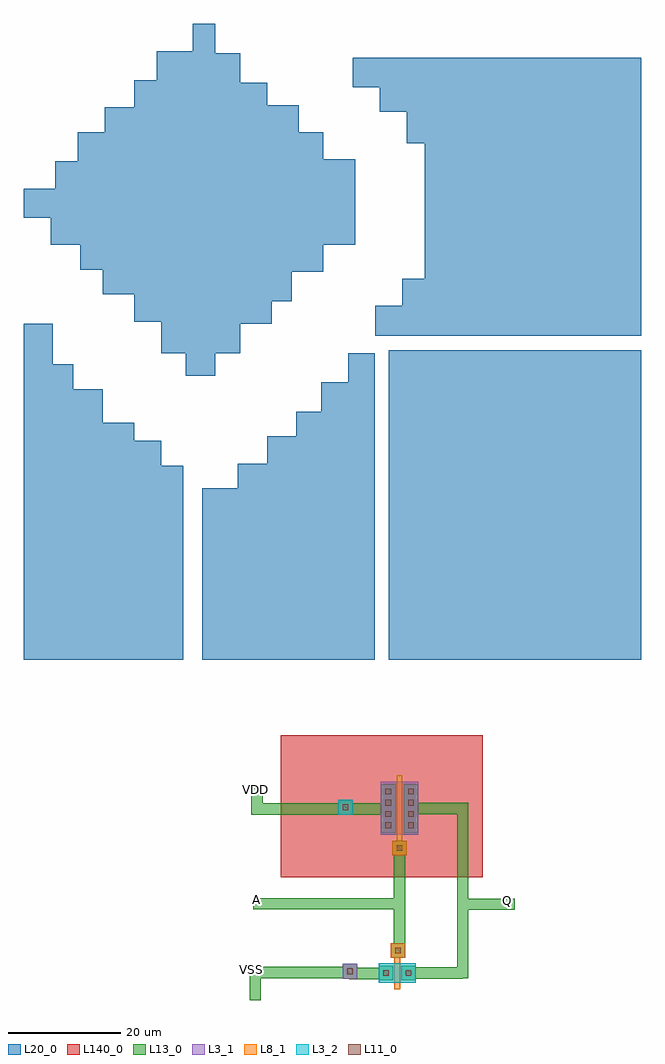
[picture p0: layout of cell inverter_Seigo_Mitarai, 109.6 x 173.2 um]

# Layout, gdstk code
import gdstk
lib = gdstk.Library(unit=1e-6, precision=1e-07)
def R(c, l, rs):  # rectangles x0, y0, x1, y1
    for r in rs: c.add(gdstk.rectangle(r[:2], r[2:], *l))
def A(c, l, x, y, w, h, nx, ny, dx, dy):  # array of equal rectangles
    R(c, l, [(x+i*dx, y+j*dy, x+i*dx+w, y+j*dy+h) for i in range(nx) for j in range(ny)])
def P(c, l, *ps):  # polygons
    for p in ps: c.add(gdstk.Polygon(p, *l))
L3_1 = (3, 1)
L3_2 = (3, 2)
L8_1 = (8, 1)
L11_0 = (11, 0)
L13_0 = (13, 0)
L20_0 = (20, 0)
L140_0 = (140, 0)

fet_n = lib.new_cell('fet_n')
R(fet_n, L3_2, [(-3.3,-1.7,3.3,1.7)])
R(fet_n, L11_0, [(-2.5,-0.5,-1.5,0.5), (1.5,-0.5,2.5,0.5)])
R(fet_n, L13_0, [(-3.3,-1.3,-0.7,1.3), (0.7,-1.3,3.3,1.3)])
fet_n.add(gdstk.FlexPath([(0,-2.9),(0,2.9)], 1, ends="flush", simple_path=True, layer=8, datatype=1))  # L8_1

cont_g = lib.new_cell('cont_g')
R(cont_g, L8_1, [(-1.3,-1.3,1.3,1.3)])
R(cont_g, L11_0, [(-0.5,-0.5,0.5,0.5)])
R(cont_g, L13_0, [(-1.3,-1.3,1.3,1.3)])

cont_n = lib.new_cell('cont_n')
R(cont_n, L3_2, [(-1.3,-1.3,1.3,1.3)])
R(cont_n, L11_0, [(-0.5,-0.5,0.5,0.5)])
R(cont_n, L13_0, [(-1.3,-1.3,1.3,1.3)])

cont_p = lib.new_cell('cont_p')
R(cont_p, L3_1, [(-1.3,-1.3,1.3,1.3)])
R(cont_p, L11_0, [(-0.5,-0.5,0.5,0.5)])
R(cont_p, L13_0, [(-1.3,-1.3,1.3,1.3)])

fet_p = lib.new_cell('fet_p')
R(fet_p, L3_1, [(-3.3,-4.7,3.3,4.7)])
A(fet_p, L11_0, -2.5, -3.5, 1, 1, 1, 4, 0, 2)
A(fet_p, L11_0, 1.5, -3.5, 1, 1, 1, 4, 0, 2)
R(fet_p, L13_0, [(-3.3,-4.3,-0.7,4.3), (0.7,-4.3,3.3,4.3)])
fet_p.add(gdstk.FlexPath([(0,-5.9),(0,5.9)], 1, ends="flush", simple_path=True, layer=8, datatype=1))  # L8_1

inverter_seigo_mitarai = lib.new_cell('inverter_Seigo_Mitarai')
R(inverter_seigo_mitarai, L20_0, [(44,30.4,88.8,85.3)])
P(inverter_seigo_mitarai, L20_0, [(-20.8,30.4),(-20.8,90),(-15.6,90),(-15.6,82.8),(-12,82.8),(-12,78.4),(-6.8,78.4),(-6.8,72.4),(-1.2,72.4),(-1.2,69.2),(3.6,69.2),(3.6,64.8),(7.5,64.8),(7.5,30.4)],
  [(10.9,30.4),(10.9,60.8),(17.2,60.8),(17.2,65.2),(22.4,65.2),(22.4,70),(27.6,70),(27.6,74.4),(32,74.4),(32,79.6),(36.8,79.6),(36.8,84.8),(41.5,84.8),(41.5,30.4)],
  [(41.6,87.9),(41.6,93.2),(46.4,93.2),(46.4,98),(50.4,98),(50.4,122),(47.2,122),(47.2,127.6),(42.4,127.6),(42.4,132),(37.6,132),(37.6,137.2),(88.8,137.2),(88.8,87.9)],
  [(8,80.8),(8,84.8),(3.6,84.8),(3.6,90.4),(-1.2,90.4),(-1.2,95.2),(-6.8,95.2),(-6.8,99.6),(-10.8,99.6),(-10.8,104),(-16,104),(-16,108.8),(-20.8,108.8),(-20.8,114),(-15.2,114),(-15.2,118.8),(-11.2,118.8),(-11.2,124),(-6.4,124),(-6.4,128.4),(-1.2,128.4),(-1.2,133.2),(2.8,133.2),(2.8,138.4),(9.2,138.4),(9.2,143.2),(13.2,143.2),(13.2,138),(17.6,138),(17.6,132.8),(22.4,132.8),(22.4,128.8),(28,128.8),(28,124),(32.4,124),(32.4,119.2),(38,119.2),(38,104),(32.4,104),(32.4,99.2),(26.8,99.2),(26.8,94),(23.2,94),(23.2,90),(17.6,90),(17.6,84.8),(13.2,84.8),(13.2,80.8)])
R(inverter_seigo_mitarai, L140_0, [(24.8,-8.2,60.7,17)])
inverter_seigo_mitarai.add(gdstk.FlexPath([(45.9,-3.4),(45.9,-20.9)], 2, ends="flush", simple_path=True, layer=13, datatype=0))  # L13_0
inverter_seigo_mitarai.add(gdstk.FlexPath([(43.6,-25.3),(37,-25.3)], 2, ends="flush", simple_path=True, layer=13, datatype=0))  # L13_0
inverter_seigo_mitarai.add(gdstk.FlexPath([(43.9,3.9),(36,3.9)], 2, ends="flush", simple_path=True, layer=13, datatype=0))  # L13_0
inverter_seigo_mitarai.add(gdstk.FlexPath([(47.8,4),(57.1,4),(57.1,-26.1)], 2, ends="flush", simple_path=True, layer=13, datatype=0))  # L13_0
inverter_seigo_mitarai.add(gdstk.FlexPath([(45.7,-12.9),(19.9,-12.9)], 2, ends="flush", simple_path=True, layer=13, datatype=0))  # L13_0
inverter_seigo_mitarai.add(gdstk.FlexPath([(57.2,-13),(66.3,-13)], 2, ends="flush", simple_path=True, layer=13, datatype=0))  # L13_0
inverter_seigo_mitarai.add(gdstk.FlexPath([(36.1,3.9),(20.6,3.9),(20.6,7.6)], 2, ends="flush", simple_path=True, layer=13, datatype=0))  # L13_0
inverter_seigo_mitarai.add(gdstk.FlexPath([(37,-25.1),(20.3,-25.1),(20.3,-30)], 2, ends="flush", simple_path=True, layer=13, datatype=0))  # L13_0
inverter_seigo_mitarai.add(gdstk.FlexPath([(47.3,-25.2),(57.1,-25.2)], 2, ends="flush", simple_path=True, layer=13, datatype=0))  # L13_0
inverter_seigo_mitarai.add(gdstk.Reference(fet_n, (45.5,-25.2)))
inverter_seigo_mitarai.add(gdstk.Reference(cont_g, (45.9,-3)))
inverter_seigo_mitarai.add(gdstk.Reference(cont_n, (36.3,4.2)))
inverter_seigo_mitarai.add(gdstk.Reference(cont_g, (45.6,-21.2)))
inverter_seigo_mitarai.add(gdstk.Reference(cont_p, (37.1,-24.9)))
inverter_seigo_mitarai.add(gdstk.Reference(fet_p, (45.9,4)))
inverter_seigo_mitarai.add(gdstk.Label('Q', (65,-12.4), layer=48, texttype=0))
inverter_seigo_mitarai.add(gdstk.Label('VSS', (19.6,-24.5), layer=48, texttype=0))
inverter_seigo_mitarai.add(gdstk.Label('A', (20.6,-12.1), layer=48, texttype=0))
inverter_seigo_mitarai.add(gdstk.Label('VDD', (20.4,7.3), layer=48, texttype=0))

lib.write_gds('inverter_Seigo_Mitarai.gds')
